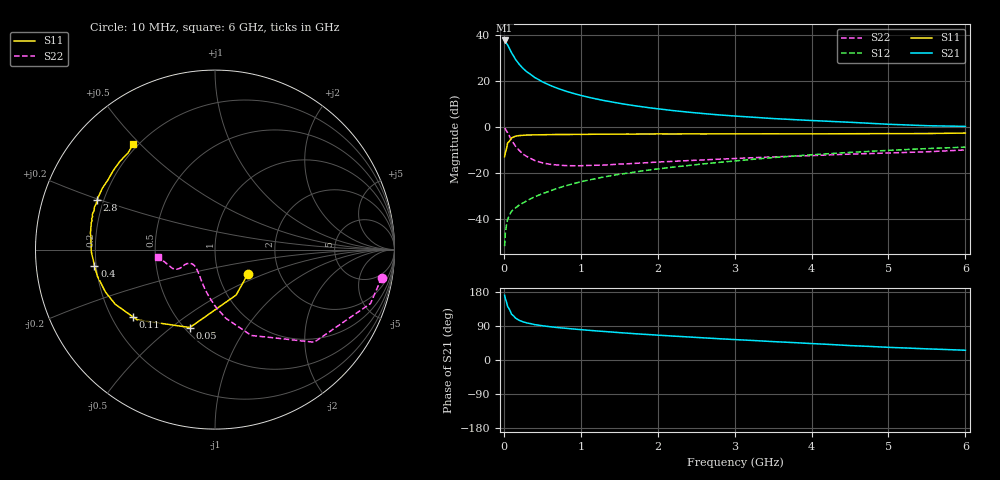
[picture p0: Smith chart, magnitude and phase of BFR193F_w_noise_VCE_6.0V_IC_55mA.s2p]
! Infineon Technologies  Discrete & RF Semiconductors
! BFR193F
! VCE =  6.0 V,  IC =  55 mA
! Common Emitter S-Parameters:  Jan 2017
# GHz  S  MA  R  50
!  f  S11  S21  S12  S22
! GHz  MAG  ANG  MAG  ANG  MAG  ANG  MAG  ANG
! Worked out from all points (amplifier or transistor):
!   77 points, 10 MHz to 6 GHz, reference 50 ohm
!   highest |S21| = 37.6 dB at 10 MHz (marker M1)
!   |S21| within 3 dB of that: start of sweep to 65.22 MHz
!   unconditionally stable (mu >= 1): 794.7 MHz to 2.607 GHz
!   at 130 MHz: K = 0.50, MSG = 33.2 dB, |S12| = -35.7 dB
!   at 2.2 GHz: K = 1.02, MAG = 11.5 dB, |S12| = -17.4 dB
!   at 6 GHz: K = 0.86, MSG = 4.5 dB, |S12| = -8.7 dB
!   lowest NFmin = 1.56 dB at 450 MHz
!   S11 on the Smith chart (normalised r, x): 10 MHz: 1.39, -0.39; 50 MHz: 0.53, -0.58; 110 MHz: 0.29, -0.33; 400 MHz: 0.19, -0.06; 2.8 GHz: 0.17, +0.20; 6 GHz: 0.18, +0.48
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0.01  0.2279 -36.1  75.96 170.9  0.0026 87.5  0.9417 -9.6
0.02  0.2791 -65.0  73.13 161.9  0.0051 73.7  0.9172 -19.1
0.05  0.4561 -107.9  60.23 140.9  0.01 62.7  0.7565 -43.0
0.1  0.584 -137.9  41 120.8  0.0149 52.7  0.5194 -67.1
0.11  0.5912 -140.7  38.67 119.3  0.0154 52.7  0.491 -69.3
0.15  0.6337 -151.3  29.76 110.8  0.0175 52.8  0.3869 -81.1
0.2  0.6547 -158.9  23.07 104.7  0.0203 53.8  0.312 -90.3
0.25  0.6634 -164.1  18.72 100.7  0.0226 57.5  0.2593 -98.1
0.3  0.6719 -167.3  15.79 97.8  0.0252 59.0  0.2292 -103.9
0.4  0.6777 -172.3  11.96 93.4  0.0306 63.6  0.1885 -113.8
0.5  0.6812 -175.4  9.625 90.4  0.0357 66.0  0.1676 -121.3
0.6  0.6871 -177.9  8.063 87.8  0.041 68.4  0.1556 -127.7
0.7  0.6904 179.9  6.928 85.6  0.0472 69.8  0.1499 -132.5
0.9  0.6928 176.5  5.412 81.9  0.0588 71.9  0.1449 -140.2
1.1  0.6965 173.6  4.445 78.4  0.0707 73.2  0.1473 -144.7
1.5  0.7033 168.9  3.291 72.3  0.0944 73.9  0.1571 -150.6
2.1  0.7096 163.0  2.388 64.4  0.1293 73.6  0.1774 -153.4
2.8  0.7128 157.1  1.837 56.1  0.1715 72.2  0.2011 -153.1
3.1  0.7133 154.6  1.695 52.9  0.1903 71.5  0.2114 -152.1
4.1  0.7126 145.9  1.365 42.4  0.2567 67.5  0.244 -153.6
5.1  0.7227 136.2  1.135 32.6  0.3181 61.7  0.277 -162.8
6  0.7426 127.8  1.036 25.7  0.3676 56.5  0.319 -172.4
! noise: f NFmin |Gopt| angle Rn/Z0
0.45  1.56  0.48  -179  0.07
0.9  1.64  0.49  -177  0.08
1.9  2.22  0.6  -163  0.1
2.4  2.54  0.62  -155  0.16
